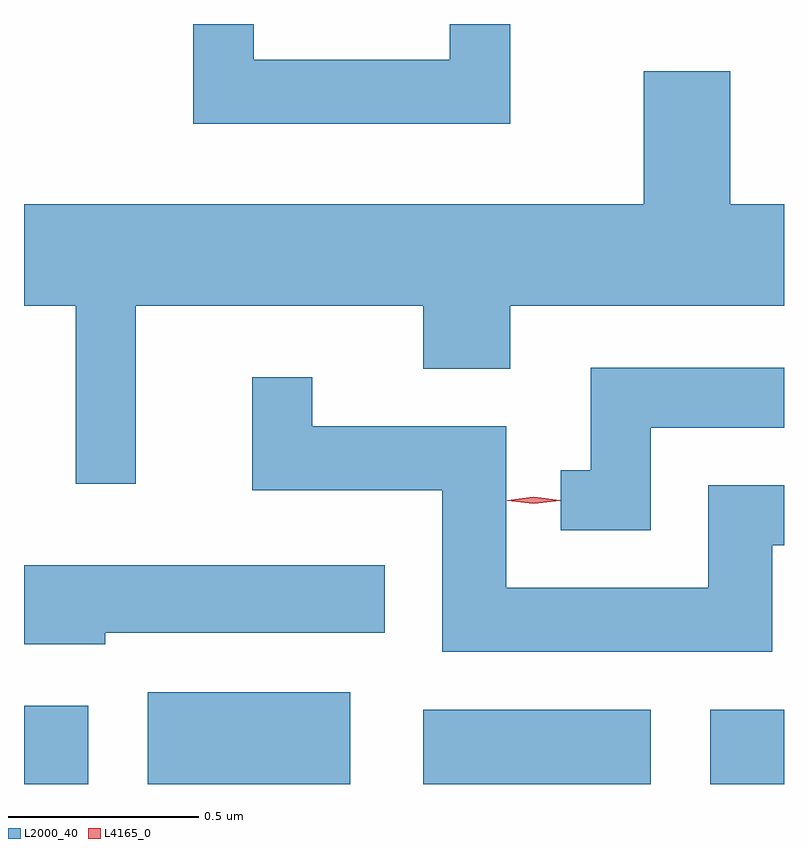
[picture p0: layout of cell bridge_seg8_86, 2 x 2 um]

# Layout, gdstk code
import gdstk
lib = gdstk.Library(unit=1e-6, precision=1e-09)
def R(c, l, rs):  # rectangles x0, y0, x1, y1
    for r in rs: c.add(gdstk.rectangle(r[:2], r[2:], *l))
def P(c, l, *ps):  # polygons
    for p in ps: c.add(gdstk.Polygon(p, *l))
L2000_40 = (2000, 40)
L4165_0 = (4165, 0)

bridge_seg8_86 = lib.new_cell('bridge_seg8_86')
R(bridge_seg8_86, L2000_40, [(1623.9,1810.738,1624.069,1810.944), (1624.226,1810.738,1624.759,1810.979), (1624.951,1810.738,1625.549,1810.934), (1625.706,1810.738,1625.9,1810.934)])
P(bridge_seg8_86, L2000_40, [(1625.179,1812.738),(1625.021,1812.738),(1625.021,1812.644),(1624.504,1812.644),(1624.504,1812.738),(1624.346,1812.738),(1624.346,1812.476),(1625.179,1812.476)],
  [(1624.194,1811.996),(1624.951,1811.996),(1624.951,1811.831),(1625.179,1811.831),(1625.179,1811.996),(1625.9,1811.996),(1625.9,1812.264),(1625.759,1812.264),(1625.759,1812.614),(1625.531,1812.614),(1625.531,1812.264),(1623.9,1812.264),(1623.9,1811.996),(1624.036,1811.996),(1624.036,1811.528),(1624.194,1811.528)],
  [(1625.549,1811.676),(1625.9,1811.676),(1625.9,1811.834),(1625.391,1811.834),(1625.391,1811.564),(1625.313,1811.564),(1625.313,1811.406),(1625.549,1811.406)],
  [(1625.869,1811.366),(1625.9,1811.366),(1625.9,1811.524),(1625.701,1811.524),(1625.701,1811.254),(1625.169,1811.254),(1625.169,1811.679),(1624.659,1811.679),(1624.659,1811.808),(1624.501,1811.808),(1624.501,1811.511),(1625.001,1811.511),(1625.001,1811.086),(1625.869,1811.086)],
  [(1624.114,1811.136),(1624.849,1811.136),(1624.849,1811.314),(1623.9,1811.314),(1623.9,1811.106),(1624.114,1811.106)])
P(bridge_seg8_86, L4165_0, [(1625.242,1811.475),(1625.172,1811.484),(1625.172,1811.484),(1625.172,1811.485),(1625.242,1811.494),(1625.311,1811.485),(1625.311,1811.485),(1625.311,1811.484)])

lib.write_gds('bridge_seg8_86.gds')
